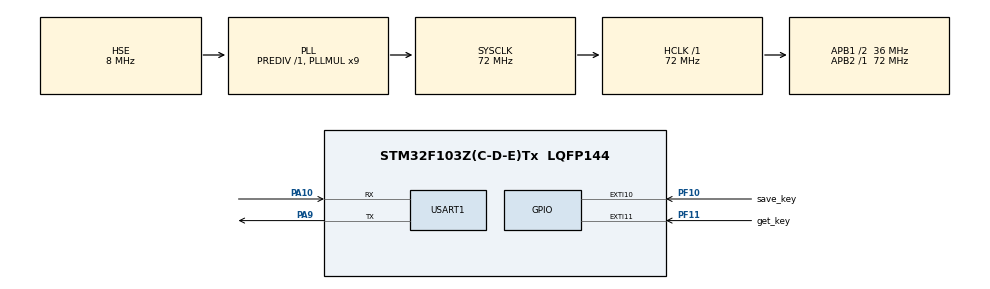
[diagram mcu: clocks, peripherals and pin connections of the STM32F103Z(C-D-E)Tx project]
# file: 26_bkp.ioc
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Mcu.Family=STM32F1
Mcu.Name=STM32F103Z(C-D-E)Tx
Mcu.Package=LQFP144
NVIC.EXTI15_10_IRQn=true\:3\:0\:true\:false\:true\:true\:true\:true
NVIC.PriorityGroup=NVIC_PRIORITYGROUP_4
OSC_IN.Mode=HSE-External-Oscillator
OSC_IN.Signal=RCC_OSC_IN
OSC_OUT.Mode=HSE-External-Oscillator
OSC_OUT.Signal=RCC_OSC_OUT
PA10.Mode=Asynchronous
PA10.Signal=USART1_RX
PA13.Mode=Serial_Wire
PA13.Signal=SYS_JTMS-SWDIO
PA14.Mode=Serial_Wire
PA14.Signal=SYS_JTCK-SWCLK
PA9.Mode=Asynchronous
PA9.Signal=USART1_TX
PC14-OSC32_IN.Mode=LSE-External-Oscillator
PC14-OSC32_IN.Signal=RCC_OSC32_IN
PC15-OSC32_OUT.Mode=LSE-External-Oscillator
PC15-OSC32_OUT.Signal=RCC_OSC32_OUT
PF10.GPIO_Label=save_key
PF10.GPIO_ModeDefaultEXTI=GPIO_MODE_IT_RISING
PF10.GPIO_PuPd=GPIO_PULLDOWN
PF10.Signal=GPXTI10
PF11.GPIO_Label=get_key
PF11.GPIO_PuPd=GPIO_PULLDOWN
PF11.Signal=GPXTI11
ProjectManager.HeapSize=0x200
ProjectManager.StackSize=0x400
ProjectManager.TargetToolchain=CMake
RCC.AHBFreq_Value=72000000
RCC.APB1CLKDivider=RCC_HCLK_DIV2
RCC.APB1Freq_Value=36000000
RCC.APB1TimFreq_Value=72000000
RCC.APB2Freq_Value=72000000
RCC.APB2TimFreq_Value=72000000
RCC.HCLKFreq_Value=72000000
RCC.PLLMUL=RCC_PLL_MUL9
RCC.PLLSourceVirtual=RCC_PLLSOURCE_HSE
RCC.SYSCLKFreq_VALUE=72000000
RCC.SYSCLKSource=RCC_SYSCLKSOURCE_PLLCLK
RCC.USBFreq_Value=72000000
USART1.VirtualMode=VM_ASYNC
VP_RTC_VS_RTC_Activate.Mode=RTC_Enabled
board=custom

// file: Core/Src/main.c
/* USER CODE BEGIN Header */
/**
  ******************************************************************************
  * @file           : main.c
  * @brief          : Main program body
  ******************************************************************************
  * @attention
  *
  * Copyright (c) 2026 STMicroelectronics.
  * All rights reserved.
  *
  * This software is licensed under terms that can be found in the LICENSE file
  * in the root directory of this software component.
  * If no LICENSE file comes with this software, it is provided AS-IS.
  *
  ******************************************************************************
  */
/* USER CODE END Header */
#include "main.h"
#include "rtc.h"
#include "usart.h"
#include "gpio.h"

/* USER CODE BEGIN Includes */

#include <stdio.h>

/* USER CODE END Includes */

void SystemClock_Config(void);

/* USER CODE BEGIN 0 */

void HAL_GPIO_EXTI_Callback(uint16_t GPIO_Pin)
{
  // 保存按钮
  if (GPIO_Pin == save_key_Pin)
  {
    // 防抖
    HAL_Delay(20);

    if (HAL_GPIO_ReadPin(save_key_GPIO_Port, save_key_Pin) == GPIO_PIN_SET)
    {
      printf("save_key Pressed\r\n");

      // 保存一个值
      HAL_RTCEx_BKUPWrite(&hrtc, RTC_BKP_DR1, 9527);
      printf("Backup Register 1: %d\r\n", HAL_RTCEx_BKUPRead(&hrtc, RTC_BKP_DR1));
    }
  }

  // 读取按钮
  if (GPIO_Pin == get_key_Pin)
  {
    // 防抖
    HAL_Delay(20);

    if (HAL_GPIO_ReadPin(get_key_GPIO_Port, get_key_Pin) == GPIO_PIN_SET)
    {
      printf("get_key Pressed\r\n");

      uint32_t backupData = HAL_RTCEx_BKUPRead(&hrtc, RTC_BKP_DR1);
      printf("Backup Register 1: %d\r\n", backupData);
    }
  }
}

/* USER CODE END 0 */

int main(void)
{

  /* MCU Configuration--------------------------------------------------------*/

  /* Reset of all peripherals, Initializes the Flash interface and the Systick. */
  HAL_Init();

  /* Configure the system clock */
  SystemClock_Config();

  /* Initialize all configured peripherals */
  MX_GPIO_Init();
  MX_USART1_UART_Init();
  MX_RTC_Init();
  /* USER CODE BEGIN 2 */

  // 备份寄存器实验
  printf("备份寄存器实验\r\n");

  // 测试过程中, 请手动断开电池供电后, 再次上电, 观察输出结果

  /* USER CODE END 2 */

  /* Infinite loop */
  while (1)
  {

  }
}

void SystemClock_Config(void)
{
  RCC_OscInitTypeDef RCC_OscInitStruct = {0};
  RCC_ClkInitTypeDef RCC_ClkInitStruct = {0};
  RCC_PeriphCLKInitTypeDef PeriphClkInit = {0};

  /** Initializes the RCC Oscillators according to the specified parameters
  * in the RCC_OscInitTypeDef structure.
  */
  RCC_OscInitStruct.OscillatorType = RCC_OSCILLATORTYPE_LSI | RCC_OSCILLATORTYPE_HSE;
  RCC_OscInitStruct.HSEState = RCC_HSE_ON;
  RCC_OscInitStruct.HSEPredivValue = RCC_HSE_PREDIV_DIV1;
  RCC_OscInitStruct.HSIState = RCC_HSI_ON;
  RCC_OscInitStruct.LSIState = RCC_LSI_ON;
  RCC_OscInitStruct.PLL.PLLState = RCC_PLL_ON;
  RCC_OscInitStruct.PLL.PLLSource = RCC_PLLSOURCE_HSE;
  RCC_OscInitStruct.PLL.PLLMUL = RCC_PLL_MUL9;
  if (HAL_RCC_OscConfig(&RCC_OscInitStruct) != HAL_OK)
  {
    Error_Handler();
  }

  /** Initializes the CPU, AHB and APB buses clocks
  */
  RCC_ClkInitStruct.ClockType = RCC_CLOCKTYPE_HCLK | RCC_CLOCKTYPE_SYSCLK
    | RCC_CLOCKTYPE_PCLK1 | RCC_CLOCKTYPE_PCLK2;
  RCC_ClkInitStruct.SYSCLKSource = RCC_SYSCLKSOURCE_PLLCLK;
  RCC_ClkInitStruct.AHBCLKDivider = RCC_SYSCLK_DIV1;
  RCC_ClkInitStruct.APB1CLKDivider = RCC_HCLK_DIV2;
  RCC_ClkInitStruct.APB2CLKDivider = RCC_HCLK_DIV1;

  if (HAL_RCC_ClockConfig(&RCC_ClkInitStruct, FLASH_LATENCY_2) != HAL_OK)
  {
    Error_Handler();
  }
  PeriphClkInit.PeriphClockSelection = RCC_PERIPHCLK_RTC;
  PeriphClkInit.RTCClockSelection = RCC_RTCCLKSOURCE_LSI;
  if (HAL_RCCEx_PeriphCLKConfig(&PeriphClkInit) != HAL_OK)
  {
    Error_Handler();
  }
}

void Error_Handler(void)
{
  __disable_irq();
  while (1)
  {
  }
}
